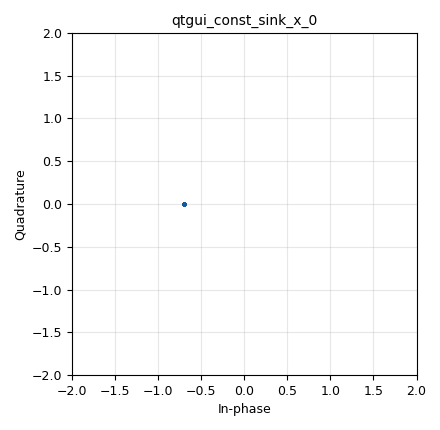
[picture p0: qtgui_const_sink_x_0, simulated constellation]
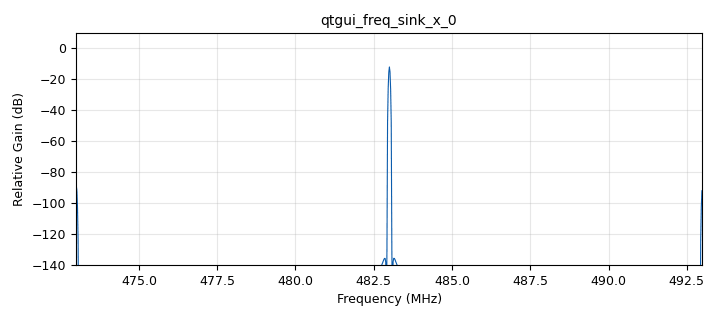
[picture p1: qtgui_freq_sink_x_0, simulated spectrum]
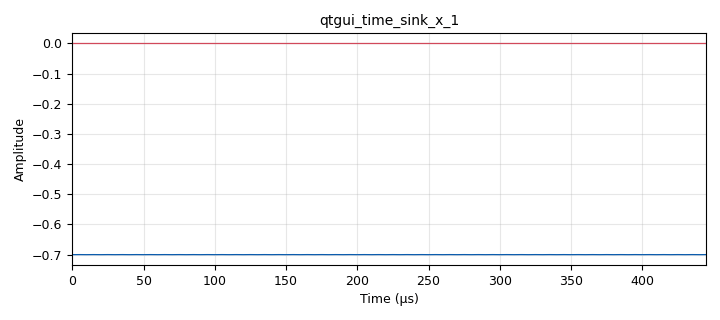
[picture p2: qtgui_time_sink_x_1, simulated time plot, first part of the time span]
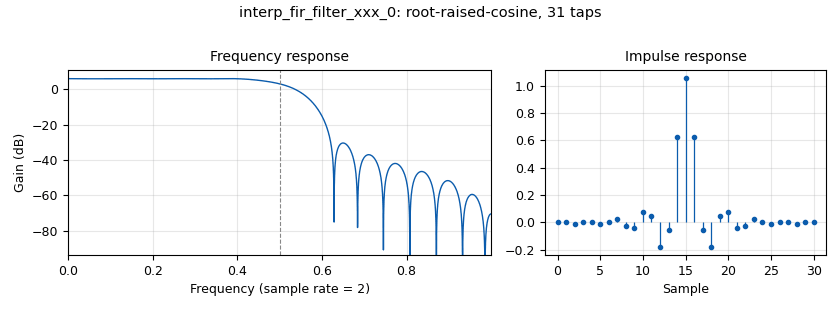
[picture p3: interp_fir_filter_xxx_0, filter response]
options:
  parameters:
    category: Custom
    generate_options: qt_gui
    id: simple_bpsk_tx_v2
    output_language: python
  states: {}

blocks:
- name: amp
  id: variable_qtgui_range
  parameters:
    gui_hint: 1,1,1,1
    label: Amplitude
    start: '0'
    step: '0.005'
    stop: '0.9'
    value: '0.7'
  states: {}
- name: eb
  id: variable
  parameters:
    value: '0.22'
  states: {}
- name: freq
  id: variable_qtgui_range
  parameters:
    gui_hint: 0,1,1,1
    label: Frequency
    start: 50e6
    step: 500e3
    stop: 3e9
    value: 483e6-300
  states: {}
- name: gain
  id: variable_qtgui_range
  parameters:
    gui_hint: 1,0,1,1
    label: Gain
    start: '0'
    step: '1'
    stop: '83'
    value: '56'
  states: {}
- name: pkt_len
  id: variable
  parameters:
    value: '1000'
  states: {}
- name: rx_rrc_taps
  id: variable_rrc_filter_taps
  parameters:
    alpha: eb
    gain: '1'
    ntaps: 15*sps
    samp_rate: sps
    sym_rate: '1.0'
  states: {}
- name: samp_rate
  id: variable_qtgui_range
  parameters:
    gui_hint: 0,0,1,1
    label: Sample Rate
    start: 200e3
    step: 200e3
    stop: 10e6
    value: 200e3
  states: {}
- name: sps
  id: variable
  parameters:
    value: '2'
  states: {}
- name: tx_rrc_taps
  id: variable_rrc_filter_taps
  parameters:
    alpha: eb
    gain: sps
    ntaps: 15*sps
    samp_rate: sps
    sym_rate: '1.0'
  states: {}
- name: blocks_message_debug_0
  id: blocks_message_debug
  parameters: {}
  states: {}
- name: blocks_message_strobe_0
  id: blocks_message_strobe
  parameters:
    msg: pmt.intern("test")
    period: '4000'
  states: {}
- name: blocks_multiply_const_vxx_0
  id: blocks_multiply_const_vxx
  parameters:
    const: amp
    type: complex
  states: {}
- name: blocks_tag_debug_0
  id: blocks_tag_debug
  parameters:
    filter: packet_len
    type: complex
  states: {state: disabled}
- name: blocks_tagged_stream_multiply_length_0
  id: blocks_tagged_stream_multiply_length
  parameters:
    c: sps*8
    lengthtagname: packet_len
    type: complex
  states: {}
- name: blocks_unpack_k_bits_bb_0
  id: blocks_unpack_k_bits_bb
  parameters:
    k: '8'
  states: {}
- name: digital_chunks_to_symbols_xx_0
  id: digital_chunks_to_symbols_xx
  parameters:
    dimension: '1'
    in_type: byte
    out_type: complex
    symbol_table: '[-1,1]'
  states: {}
- name: epy_block_0
  id: epy_block
  parameters:
    _source_code: |-
      import numpy as np
      from gnuradio import gr
      import pmt

      class pmt_to_stream(gr.sync_block):
          def __init__(self):
              gr.sync_block.__init__(self,
                  name="pmt_to_stream",
                  in_sig=None,
                  out_sig=[np.byte])  # Wyjście jako strumień bajtów
              self.message_port_register_in(pmt.intern("in"))
              self.set_msg_handler(pmt.intern("in"), self.handle_msg)

          def handle_msg(self, msg):
              # Przekształć wiadomość (PMT) na bajty
              self.message = pmt.to_python(msg)
              if isinstance(self.message, str):
                  self.message = bytearray(self.message, 'utf-8')
              elif isinstance(self.message, bytes):
                  self.message = bytearray(self.message)
              else:
                  self.message = bytearray()

          def work(self, input_items, output_items):
              if hasattr(self, 'message') and self.message:
                  # Skopiuj dane do wyjścia
                  output_items[0][:len(self.message)] = self.message
                  self.message = bytearray()  # Wyczyść wiadomość po wysłaniu
                  return len(output_items[0])
              return 0
  states: {}
- name: fir_filter_xxx_0
  id: fir_filter_xxx
  parameters:
    decim: '1'
    samp_delay: 1 + (len(rx_rrc_taps)-1)/2
    taps: rx_rrc_taps
    type: ccc
  states: {state: bypassed}
- name: iio_pluto_sink_0
  id: iio_pluto_sink
  parameters:
    attenuation1: '10.0'
    bandwidth: '20000000'
    buffer_size: '32768'
    cyclic: 'False'
    filter_source: '''Auto'''
    frequency: int(freq)
    samplerate: int(samp_rate)
    type: fc32
    uri: ip:192.168.2.1
  states: {}
- name: interp_fir_filter_xxx_0
  id: interp_fir_filter_xxx
  parameters:
    interp: sps
    samp_delay: (len(tx_rrc_taps)-1)//(2*sps)
    taps: tx_rrc_taps
    type: ccc
  states: {}
- name: qtgui_const_sink_x_0
  id: qtgui_const_sink_x
  parameters:
    gui_hint: tab0@2
    legend: 'False'
    size: '1024'
    tr_tag: packet_len
    type: complex
  states: {}
- name: qtgui_freq_sink_x_0
  id: qtgui_freq_sink_x
  parameters:
    bw: '20000000'
    fc: freq
    fftsize: '1024'
    gui_hint: tab0@1
    legend: 'False'
    showports: 'True'
    type: complex
  states: {}
- name: qtgui_time_sink_x_1
  id: qtgui_time_sink_x
  parameters:
    autoscale: 'True'
    gui_hint: tab0@0
    label1: ''
    label2: ''
    legend: 'False'
    size: '600'
    srate: samp_rate
    tr_tag: packet_len
    type: complex
    ymax: '2'
    ymin: '-2'
  states: {}
- name: tab0
  id: qtgui_tab_widget
  parameters:
    gui_hint: 2,0,1,2
    label0: Time
    label1: Freq.
    label2: Const.
    num_tabs: '3'
  states: {}
- name: uhd_usrp_sink_0
  id: uhd_usrp_sink
  parameters:
    ant0: TX/RX
    center_freq0: '820000000'
    clock_rate: '0.0'
    clock_source0: gpsdo
    dev_args: '""'
    gain0: gain
    len_tag_name: packet_len
    samp_rate: samp_rate
    sync: sync
    time_source0: gpsdo
    type: fc32
  states: {state: disabled}

connections:
- [blocks_message_strobe_0, strobe, blocks_message_debug_0, print]
- [blocks_message_strobe_0, strobe, epy_block_0, in]
- [blocks_multiply_const_vxx_0, '0', blocks_tag_debug_0, '0']
- [blocks_multiply_const_vxx_0, '0', iio_pluto_sink_0, '0']
- [blocks_multiply_const_vxx_0, '0', qtgui_const_sink_x_0, '0']
- [blocks_multiply_const_vxx_0, '0', qtgui_freq_sink_x_0, '0']
- [blocks_multiply_const_vxx_0, '0', qtgui_time_sink_x_1, '0']
- [blocks_tagged_stream_multiply_length_0, '0', fir_filter_xxx_0, '0']
- [blocks_unpack_k_bits_bb_0, '0', digital_chunks_to_symbols_xx_0, '0']
- [digital_chunks_to_symbols_xx_0, '0', interp_fir_filter_xxx_0, '0']
- [epy_block_0, '0', blocks_unpack_k_bits_bb_0, '0']
- [fir_filter_xxx_0, '0', blocks_multiply_const_vxx_0, '0']
- [interp_fir_filter_xxx_0, '0', blocks_tagged_stream_multiply_length_0, '0']

metadata:
  file_format: 1
  grc_version: 3.10.12.0
